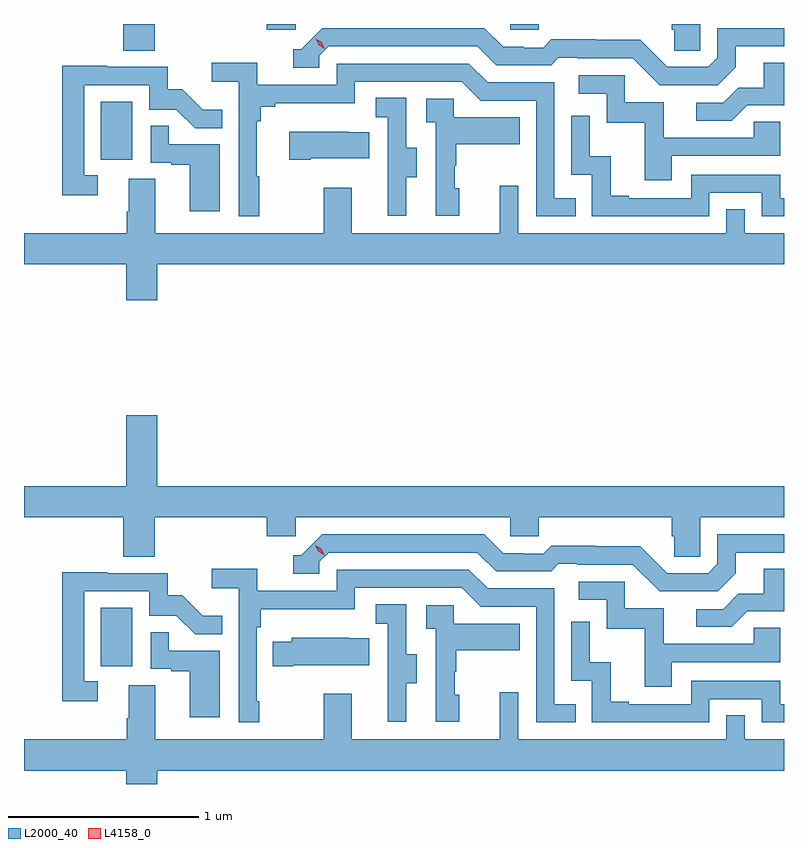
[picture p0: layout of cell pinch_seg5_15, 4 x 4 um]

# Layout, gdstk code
import gdstk
lib = gdstk.Library(unit=1e-6, precision=1e-09)
def R(c, l, rs):  # rectangles x0, y0, x1, y1
    for r in rs: c.add(gdstk.rectangle(r[:2], r[2:], *l))
def P(c, l, *ps):  # polygons
    for p in ps: c.add(gdstk.Polygon(p, *l))
L2000_40 = (2000, 40)
L4158_0 = (4158, 0)

pinch_seg5_15 = lib.new_cell('pinch_seg5_15')
R(pinch_seg5_15, L2000_40, [(1141.898,907.926,1142.062,908.233), (1141.898,910.59,1142.062,910.897), (1142.015,911.164,1142.18,911.305), (1142.771,911.274,1142.922,911.305), (1144.053,911.274,1144.203,911.305)])
P(pinch_seg5_15, L2000_40, [(1145.052,911.305),(1144.901,911.305),(1144.901,911.274),(1144.915,911.274),(1144.915,911.164),(1145.052,911.164)],
  [(1145.239,911.077),(1145.239,911.187),(1145.493,911.187),(1145.493,911.283),(1145.142,911.283),(1145.142,911.127),(1145.094,911.079),(1144.878,911.079),(1144.736,911.221),(1144.5,911.221),(1144.5,911.224),(1144.267,911.224),(1144.225,911.181),(1144.122,911.181),(1144.122,911.184),(1144.015,911.184),(1143.916,911.283),(1143.063,911.283),(1142.952,911.172),(1142.909,911.172),(1142.909,911.076),(1143.048,911.076),(1143.048,911.139),(1143.096,911.187),(1143.879,911.187),(1143.978,911.088),(1144.267,911.088),(1144.306,911.127),(1144.405,911.127),(1144.405,911.124),(1144.698,911.124),(1144.839,910.983),(1145.145,910.983)],
  [(1142.731,910.505),(1142.719,910.505),(1142.719,910.793),(1142.738,910.793),(1142.738,910.87),(1142.815,910.87),(1142.815,910.889),(1143.234,910.889),(1143.234,911.001),(1143.798,911.001),(1143.897,910.902),(1144.188,910.902),(1144.188,910.293),(1144.397,910.293),(1144.397,910.389),(1144.284,910.389),(1144.284,910.998),(1143.934,910.998),(1143.835,911.097),(1143.138,911.097),(1143.138,910.986),(1142.72,910.986),(1142.72,911.102),(1142.481,911.102),(1142.481,911),(1142.622,911),(1142.622,910.293),(1142.731,910.293)],
  [(1145.299,910.878),(1145.493,910.878),(1145.493,911.102),(1145.387,911.102),(1145.387,910.97),(1145.252,910.97),(1145.172,910.89),(1145.031,910.89),(1145.031,910.797),(1145.218,910.797)],
  [(1141.882,910.509),(1141.809,910.509),(1141.809,910.983),(1142.151,910.983),(1142.151,910.854),(1142.295,910.854),(1142.393,910.756),(1142.537,910.756),(1142.537,910.855),(1142.433,910.855),(1142.326,910.962),(1142.25,910.962),(1142.25,911.079),(1141.931,911.079),(1141.931,911.084),(1141.693,911.084),(1141.693,910.404),(1141.882,910.404)],
  [(1144.903,910.611),(1145.472,910.611),(1145.472,910.791),(1145.335,910.791),(1145.335,910.707),(1144.861,910.707),(1144.861,910.893),(1144.656,910.893),(1144.656,911.034),(1144.413,911.034),(1144.413,910.938),(1144.56,910.938),(1144.56,910.785),(1144.759,910.785),(1144.759,910.482),(1144.903,910.482)],
  [(1143.505,910.498),(1143.559,910.498),(1143.559,910.653),(1143.504,910.653),(1143.504,910.916),(1143.345,910.916),(1143.345,910.813),(1143.408,910.813),(1143.408,910.509),(1143.407,910.509),(1143.407,910.296),(1143.505,910.296)],
  [(1143.784,910.44),(1143.759,910.44),(1143.759,910.559),(1143.769,910.559),(1143.769,910.673),(1144.103,910.673),(1144.103,910.813),(1143.756,910.813),(1143.756,910.911),(1143.609,910.911),(1143.609,910.787),(1143.66,910.787),(1143.66,910.296),(1143.784,910.296)],
  [(1145.1,910.416),(1145.376,910.416),(1145.376,910.293),(1145.493,910.293),(1145.493,910.389),(1145.472,910.389),(1145.472,910.512),(1145.004,910.512),(1145.004,910.389),(1144.675,910.389),(1144.675,910.402),(1144.58,910.402),(1144.58,910.61),(1144.47,910.61),(1144.47,910.822),(1144.374,910.822),(1144.374,910.512),(1144.482,910.512),(1144.482,910.293),(1145.1,910.293)],
  [(1142.524,910.671),(1142.255,910.671),(1142.255,910.769),(1142.16,910.769),(1142.16,910.575),(1142.267,910.575),(1142.267,910.563),(1142.366,910.563),(1142.366,910.32),(1142.524,910.32)],
  [(1143.001,910.598),(1143.311,910.598),(1143.311,910.735),(1143.203,910.735),(1143.203,910.738),(1142.889,910.738),(1142.889,910.591),(1143.001,910.591)],
  [(1142.194,910.04),(1145.493,910.04),(1145.493,910.204),(1145.286,910.204),(1145.286,910.331),(1145.19,910.331),(1145.19,910.204),(1144.095,910.204),(1144.095,910.453),(1143.998,910.453),(1143.998,910.204),(1143.217,910.204),(1143.217,910.444),(1143.07,910.444),(1143.07,910.204),(1142.185,910.204),(1142.185,910.49),(1142.045,910.49),(1142.045,910.316),(1142.033,910.316),(1142.033,910.204),(1141.493,910.204),(1141.493,910.04),(1142.03,910.04),(1142.03,909.852),(1142.194,909.852)],
  [(1142.18,908.708),(1142.771,908.708),(1142.771,908.61),(1142.922,908.61),(1142.922,908.708),(1144.053,908.708),(1144.053,908.61),(1144.203,908.61),(1144.203,908.708),(1144.901,908.708),(1144.901,908.61),(1144.915,908.61),(1144.915,908.5),(1145.052,908.5),(1145.052,908.708),(1145.493,908.708),(1145.493,908.872),(1142.194,908.872),(1142.194,909.247),(1142.03,909.247),(1142.03,908.872),(1141.493,908.872),(1141.493,908.708),(1142.015,908.708),(1142.015,908.5),(1142.18,908.5)],
  [(1145.239,908.413),(1145.239,908.523),(1145.493,908.523),(1145.493,908.619),(1145.142,908.619),(1145.142,908.463),(1145.094,908.415),(1144.878,908.415),(1144.736,908.557),(1144.5,908.557),(1144.5,908.56),(1144.267,908.56),(1144.225,908.517),(1144.122,908.517),(1144.122,908.52),(1144.015,908.52),(1143.916,908.619),(1143.063,908.619),(1142.952,908.508),(1142.909,908.508),(1142.909,908.412),(1143.048,908.412),(1143.048,908.475),(1143.096,908.523),(1143.879,908.523),(1143.978,908.424),(1144.267,908.424),(1144.306,908.463),(1144.405,908.463),(1144.405,908.46),(1144.698,908.46),(1144.839,908.319),(1145.145,908.319)],
  [(1145.299,908.214),(1145.493,908.214),(1145.493,908.438),(1145.387,908.438),(1145.387,908.306),(1145.252,908.306),(1145.172,908.226),(1145.031,908.226),(1145.031,908.133),(1145.218,908.133)],
  [(1142.731,907.741),(1142.718,907.741),(1142.718,908.129),(1142.738,908.129),(1142.738,908.225),(1143.234,908.225),(1143.234,908.337),(1143.798,908.337),(1143.897,908.238),(1144.188,908.238),(1144.188,907.629),(1144.397,907.629),(1144.397,907.725),(1144.284,907.725),(1144.284,908.334),(1143.934,908.334),(1143.835,908.433),(1143.138,908.433),(1143.138,908.322),(1142.72,908.322),(1142.72,908.438),(1142.481,908.438),(1142.481,908.336),(1142.622,908.336),(1142.622,907.629),(1142.731,907.629)],
  [(1141.882,907.845),(1141.809,907.845),(1141.809,908.319),(1142.151,908.319),(1142.151,908.19),(1142.295,908.19),(1142.393,908.092),(1142.537,908.092),(1142.537,908.191),(1142.433,908.191),(1142.326,908.298),(1142.25,908.298),(1142.25,908.415),(1141.931,908.415),(1141.931,908.42),(1141.693,908.42),(1141.693,907.74),(1141.882,907.74)],
  [(1144.903,907.947),(1145.472,907.947),(1145.472,908.127),(1145.335,908.127),(1145.335,908.043),(1144.861,908.043),(1144.861,908.229),(1144.656,908.229),(1144.656,908.37),(1144.413,908.37),(1144.413,908.274),(1144.56,908.274),(1144.56,908.121),(1144.759,908.121),(1144.759,907.818),(1144.903,907.818)],
  [(1143.505,907.834),(1143.559,907.834),(1143.559,907.989),(1143.504,907.989),(1143.504,908.252),(1143.345,908.252),(1143.345,908.149),(1143.408,908.149),(1143.408,907.845),(1143.407,907.845),(1143.407,907.632),(1143.505,907.632)],
  [(1143.784,907.776),(1143.759,907.776),(1143.759,907.895),(1143.769,907.895),(1143.769,908.009),(1144.103,908.009),(1144.103,908.149),(1143.756,908.149),(1143.756,908.247),(1143.609,908.247),(1143.609,908.123),(1143.66,908.123),(1143.66,907.632),(1143.784,907.632)],
  [(1145.1,907.752),(1145.376,907.752),(1145.376,907.629),(1145.493,907.629),(1145.493,907.725),(1145.472,907.725),(1145.472,907.848),(1145.004,907.848),(1145.004,907.725),(1144.675,907.725),(1144.675,907.738),(1144.58,907.738),(1144.58,907.946),(1144.47,907.946),(1144.47,908.158),(1144.374,908.158),(1144.374,907.848),(1144.482,907.848),(1144.482,907.629),(1145.1,907.629)],
  [(1142.524,908.007),(1142.255,908.007),(1142.255,908.105),(1142.16,908.105),(1142.16,907.911),(1142.267,907.911),(1142.267,907.899),(1142.366,907.899),(1142.366,907.656),(1142.524,907.656)],
  [(1142.914,907.931),(1143.311,907.931),(1143.311,908.071),(1143.203,908.071),(1143.203,908.074),(1142.901,908.074),(1142.901,908.053),(1142.803,908.053),(1142.803,907.924),(1142.914,907.924)],
  [(1142.194,907.376),(1145.493,907.376),(1145.493,907.54),(1145.286,907.54),(1145.286,907.667),(1145.19,907.667),(1145.19,907.54),(1144.095,907.54),(1144.095,907.789),(1143.998,907.789),(1143.998,907.54),(1143.217,907.54),(1143.217,907.78),(1143.07,907.78),(1143.07,907.54),(1142.185,907.54),(1142.185,907.826),(1142.045,907.826),(1142.045,907.652),(1142.033,907.652),(1142.033,907.54),(1141.493,907.54),(1141.493,907.376),(1142.03,907.376),(1142.03,907.305),(1142.194,907.305)])
P(pinch_seg5_15, L4158_0, [(1143.073,908.51),(1143.042,908.53),(1143.026,908.562),(1143.026,908.562),(1143.026,908.562),(1143.057,908.543),(1143.073,908.511),(1143.073,908.51)],
  [(1143.074,911.175),(1143.044,911.195),(1143.028,911.228),(1143.028,911.228),(1143.028,911.228),(1143.059,911.208),(1143.074,911.175),(1143.074,911.175)])

lib.write_gds('pinch_seg5_15.gds')
